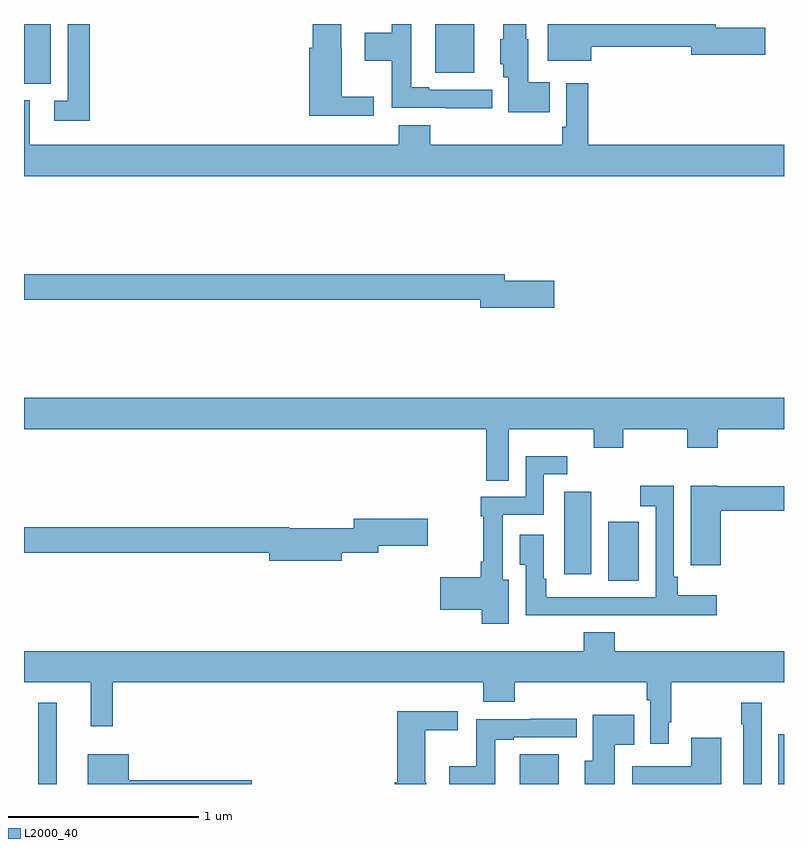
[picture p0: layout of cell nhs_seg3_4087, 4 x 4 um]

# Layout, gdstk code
import gdstk
lib = gdstk.Library(unit=1e-6, precision=1e-09)
def R(c, l, rs):  # rectangles x0, y0, x1, y1
    for r in rs: c.add(gdstk.rectangle(r[:2], r[2:], *l))
def P(c, l, *ps):  # polygons
    for p in ps: c.add(gdstk.Polygon(p, *l))
L2000_40 = (2000, 40)

nhs_seg3_4087 = lib.new_cell('nhs_seg3_4087')
R(nhs_seg3_4087, L2000_40, [(327.075,680.4,327.172,680.827), (329.609,680.4,329.815,680.557), (330.971,680.4,331,680.662), (330.074,681.469,330.235,681.78), (329.843,681.503,329.986,681.937), (327,684.085,327.142,684.4), (329.165,684.143,329.371,684.4)])
P(nhs_seg3_4087, L2000_40, [(328.84,684.017),(328.672,684.017),(328.672,684.276),(328.669,684.276),(328.669,684.4),(328.52,684.4),(328.52,684.276),(328.502,684.276),(328.502,683.918),(328.84,683.918)],
  [(327.347,684.4),(327.231,684.4),(327.231,683.997),(327.159,683.997),(327.159,683.892),(327.347,683.892)],
  [(329.768,684.094),(329.653,684.094),(329.653,684.321),(329.644,684.321),(329.644,684.4),(329.522,684.4),(329.522,684.321),(329.507,684.321),(329.507,684.189),(329.522,684.189),(329.522,684.12),(329.549,684.12),(329.549,683.936),(329.768,683.936)],
  [(329.986,684.28),(330.512,684.28),(330.512,684.238),(330.901,684.238),(330.901,684.38),(330.64,684.38),(330.64,684.4),(329.756,684.4),(329.756,684.206),(329.986,684.206)],
  [(329.464,684.054),(329.134,684.054),(329.134,684.067),(329.037,684.067),(329.037,684.4),(328.936,684.4),(328.936,684.354),(328.794,684.354),(328.794,684.206),(328.936,684.206),(328.936,683.958),(329.221,683.958),(329.221,683.957),(329.464,683.957)],
  [(331,683.764),(329.969,683.764),(329.969,684.088),(329.853,684.088),(329.853,683.86),(329.833,683.86),(329.833,683.764),(329.138,683.764),(329.138,683.866),(328.973,683.866),(328.973,683.764),(327.031,683.764),(327.031,684),(327,684),(327,683.6),(331,683.6)],
  [(329.791,683.048),(329.53,683.048),(329.53,683.084),(327,683.084),(327,682.948),(329.402,682.948),(329.402,682.906),(329.791,682.906)],
  [(329.551,682.268),(329.998,682.268),(329.998,682.169),(330.153,682.169),(330.153,682.268),(330.49,682.268),(330.49,682.169),(330.65,682.169),(330.65,682.268),(331,682.268),(331,682.432),(327,682.432),(327,682.268),(329.433,682.268),(329.433,681.997),(329.551,681.997)],
  [(329.551,681.475),(329.521,681.475),(329.521,681.816),(329.736,681.816),(329.736,682.029),(329.86,682.029),(329.86,682.126),(329.64,682.126),(329.64,681.912),(329.403,681.912),(329.403,681.809),(329.418,681.809),(329.418,681.571),(329.403,681.571),(329.403,681.488),(329.19,681.488),(329.19,681.317),(329.408,681.317),(329.408,681.243),(329.551,681.243)],
  [(329.861,681.288),(330.227,681.288),(330.227,681.287),(330.646,681.287),(330.646,681.394),(330.44,681.394),(330.44,681.49),(330.42,681.49),(330.42,681.97),(330.243,681.97),(330.243,681.861),(330.324,681.861),(330.324,681.384),(329.749,681.384),(329.749,681.481),(329.736,681.481),(329.736,681.712),(329.609,681.712),(329.609,681.553),(329.64,681.553),(329.64,681.287),(329.861,681.287)],
  [(330.668,681.838),(331,681.838),(331,681.967),(330.651,681.967),(330.651,681.97),(330.509,681.97),(330.509,681.552),(330.668,681.552)],
  [(328.672,681.616),(328.864,681.616),(328.864,681.653),(329.125,681.653),(329.125,681.795),(328.736,681.795),(328.736,681.746),(328.396,681.746),(328.396,681.752),(327,681.752),(327,681.616),(328.292,681.616),(328.292,681.574),(328.672,681.574)],
  [(330.393,680.725),(330.406,680.725),(330.406,680.936),(331,680.936),(331,681.1),(330.11,681.1),(330.11,681.199),(329.945,681.199),(329.945,681.1),(327,681.1),(327,680.936),(327.35,680.936),(327.35,680.703),(327.467,680.703),(327.467,680.936),(329.417,680.936),(329.417,680.834),(329.582,680.834),(329.582,680.936),(330.277,680.936),(330.277,680.84),(330.297,680.84),(330.297,680.613),(330.393,680.613)],
  [(330.882,680.827),(330.774,680.827),(330.774,680.714),(330.786,680.714),(330.786,680.4),(330.882,680.4)],
  [(329.116,680.409),(329.113,680.409),(329.113,680.684),(329.284,680.684),(329.284,680.782),(328.964,680.782),(328.964,680.409),(328.951,680.409),(328.951,680.4),(329.116,680.4)],
  [(330.109,680.606),(330.212,680.606),(330.212,680.764),(329.993,680.764),(329.993,680.523),(329.951,680.523),(329.951,680.4),(330.109,680.4)],
  [(329.481,680.634),(329.578,680.634),(329.578,680.646),(329.908,680.646),(329.908,680.744),(329.665,680.744),(329.665,680.742),(329.38,680.742),(329.38,680.494),(329.238,680.494),(329.238,680.4),(329.481,680.4)],
  [(330.67,680.644),(330.512,680.644),(330.512,680.494),(330.2,680.494),(330.2,680.4),(330.67,680.4)],
  [(328.198,680.42),(327.55,680.42),(327.55,680.557),(327.335,680.557),(327.335,680.4),(328.198,680.4)])

lib.write_gds('nhs_seg3_4087.gds')
